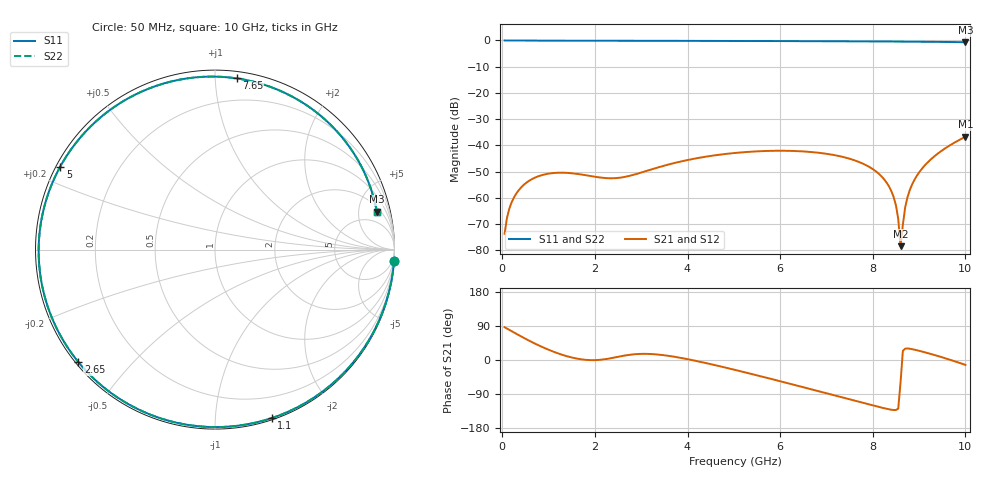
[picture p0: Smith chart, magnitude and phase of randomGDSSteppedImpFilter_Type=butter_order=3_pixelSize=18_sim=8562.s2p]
! freq	dB(S11)	phase(S11)	dB(S12)	phase(S12)
!  dB(S21)	phase(S21)	dB(S22)	phase(S22)
!S-par simulation data
#  GHz  S  DB  R 50
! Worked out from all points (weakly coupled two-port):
!   200 points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, 50 MHz to 10 GHz, reference 50 ohm
!   highest |S21| = -36.70 dB at 10 GHz (marker M1); lowest = -78.4 dB at 8.6 GHz (marker M2)
!   lowest |S11| = -0.7 dB at 10 GHz (marker M3), VSWR 25.98, Z = 132 + j389 ohm
!   |S11| at or under -10 dB: nowhere
!   |S22| runs from -0.7 to 0.0 dB; largest |S21 - S12| = 0
!   S11 on the Smith chart (normalised r, x): 50 MHz: 0, -32; 1.1 GHz: 0.01, -1.39; 2.65 GHz: 0.01, -0.36; 5 GHz: 0.01, +0.25; 7.65 GHz: 0.04, +1.13; 10 GHz: 2.64, +7.79
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0.05  -0.00 -3.5  -73.66 86.4  -73.66 86.4  -0.00 -3.5
0.15  -0.01 -10.5  -64.17 79.6  -64.17 79.6  -0.01 -10.5
0.35  -0.03 -24.2  -57.14 65.9  -57.14 65.9  -0.03 -24.2
0.65  -0.06 -44.1  -52.73 46.7  -52.73 46.7  -0.06 -44.1
1.1  -0.08 -71.4  -50.50 22.1  -50.50 22.1  -0.08 -71.4
1.75  -0.11 -104.6  -51.17 1.1  -51.17 1.1  -0.11 -104.6
2.65  -0.12 -140.6  -51.96 11.9  -51.96 11.9  -0.12 -140.6
3.4  -0.14 -164.7  -48.18 13.9  -48.18 13.9  -0.14 -164.8
5  -0.19 151.8  -42.90 -25.3  -42.90 -25.3  -0.19 151.7
5.05  -0.19 150.5  -42.81 -26.8  -42.81 -26.8  -0.19 150.4
6.7  -0.27 108.2  -42.54 -78.3  -42.54 -78.3  -0.27 108.2
7.65  -0.34 82.7  -45.93 -108.7  -45.93 -108.7  -0.34 82.6
8.05  -0.37 71.5  -49.62 -121.4  -49.62 -121.4  -0.37 71.4
8.35  -0.40 63.0  -55.59 -130.1  -55.59 -130.1  -0.40 62.9
8.5  -0.42 58.6  -62.79 -132.0  -62.79 -132.0  -0.42 58.5
8.55  -0.42 57.1  -68.03 -128.3  -68.03 -128.3  -0.42 57.0
8.6  -0.43 55.7  -78.36 -58.8  -78.36 -58.8  -0.43 55.6
8.7  -0.44 52.7  -63.51 29.9  -63.51 29.9  -0.44 52.6
8.75  -0.45 51.3  -59.68 30.5  -59.68 30.5  -0.45 51.2
8.95  -0.47 45.3  -51.59 25.9  -51.59 25.9  -0.47 45.2
9.35  -0.54 33.2  -43.84 12.5  -43.84 12.5  -0.54 33.1
10  -0.67 13.2  -36.70 -12.9  -36.70 -12.9  -0.67 13.1
